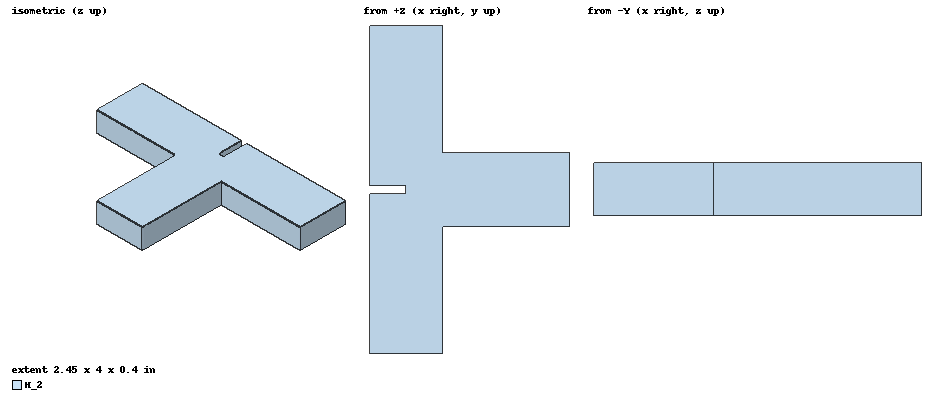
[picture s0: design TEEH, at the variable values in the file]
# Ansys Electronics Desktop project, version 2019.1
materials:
  vacuum: permittivity=1

design TEEH (HFSS, DrivenModal, model units in)
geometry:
  H = box(corner=(0in, -0.45in, 0in), size=(2in, 0.9in, 0.4in))
  H_1 = H.duplicate_around_axis(axis=Z, angle=90deg, total=2)
  H_2 [vacuum] = H.duplicate_around_axis(axis=Z, angle=-90deg, total=2)
  H_2.unite(H, H_1)
  septum = box(corner=(-0.45in, -0.05in, 0in), size=(0.45in, 0.1in, 0.4in))
  H_2.subtract(septum)
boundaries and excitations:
  3: Wave Port Faces=H_2.face(6 of 6) NumModes=1 Modes{Mode1{IntLine{middle of H_2.edge(5 of 12) -> middle of H_2.edge(1 of 12)} CharImp=Zpi}}
  2: Wave Port Faces=H_2.face(6 of 6) NumModes=1 Modes{Mode1{IntLine{middle of H_2.edge(5 of 12) -> middle of H_2.edge(1 of 12)} CharImp=Zpi}}
  1: Wave Port Faces=H_2.face(6 of 6) NumModes=1 Modes{Mode1{IntLine{middle of H_2.edge(5 of 12) -> middle of H_2.edge(1 of 12)} CharImp=Zpi}}
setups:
  1: HfssDriven Frequency=10GHz MaxDeltaS=0.06 MaximumPasses=6 MinimumPasses=1 MinimumConvergedPasses=1 PercentRefinement=30 MeshLink{LinkID=4 PathRelativeTo=TargetProject ApplyMeshOp AdaptPort} BasisOrder=1 PortAccuracy=2
    sweep Sweep: 8GHz to 10GHz step 0.05GHz; Type=Interpolating InterpTolerance=0.5 InterpMaxSolns=250 InterpUsePortImped=false PassivityErrorTolerance=0.0001
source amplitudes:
  3:1: 1W 0deg
  2:1, 1:1: 0W 0deg
